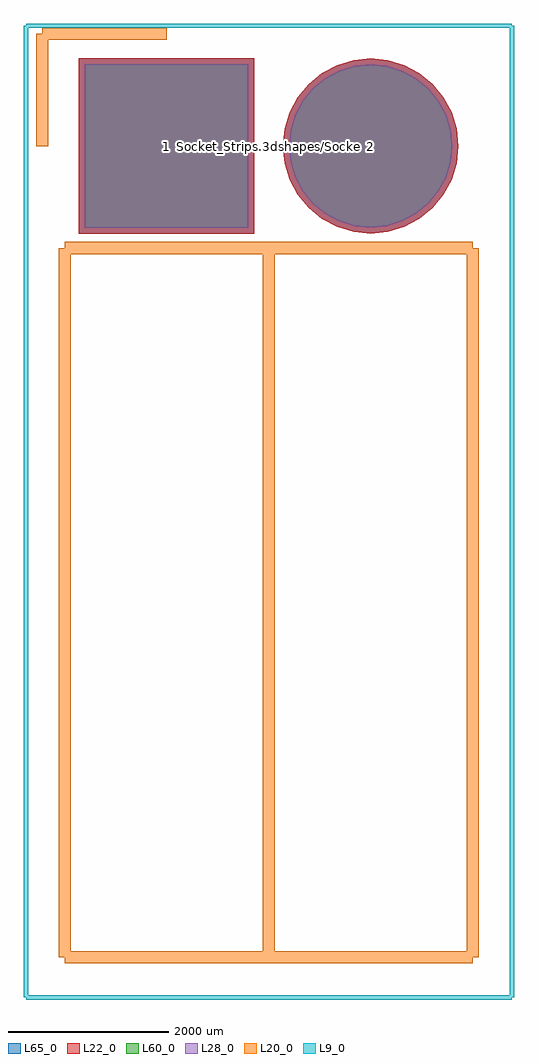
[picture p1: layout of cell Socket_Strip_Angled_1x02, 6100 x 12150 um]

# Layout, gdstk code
import gdstk
lib = gdstk.Library(unit=1e-6, precision=1e-09)
def R(c, l, rs):  # rectangles x0, y0, x1, y1
    for r in rs: c.add(gdstk.rectangle(r[:2], r[2:], *l))
def P(c, l, *ps):  # polygons
    for p in ps: c.add(gdstk.Polygon(p, *l))
L9_0 = (9, 0)
L20_0 = (20, 0)
L22_0 = (22, 0)
L28_0 = (28, 0)
L60_0 = (60, 0)
L65_0 = (65, 0)

socket_strip_angled_1x02 = lib.new_cell('Socket_Strip_Angled_1x02')
R(socket_strip_angled_1x02, L22_0, [(-1091,-1091,1091,1091)])
P(socket_strip_angled_1x02, L22_0, [(3631,0),(3610.037,212.844),(3547.953,417.508),(3447.133,606.127),(3311.453,771.453),(3146.127,907.133),(2957.508,1007.953),(2752.844,1070.037),(2540,1091),(2327.156,1070.037),(2122.492,1007.953),(1933.873,907.133),(1768.547,771.453),(1632.867,606.127),(1532.047,417.508),(1469.963,212.844),(1449,0),(1469.963,-212.844),(1532.047,-417.508),(1632.867,-606.127),(1768.547,-771.453),(1933.873,-907.133),(2122.492,-1007.953),(2327.156,-1070.037),(2540,-1091),(2752.844,-1070.037),(2957.508,-1007.953),(3146.127,-907.133),(3311.453,-771.453),(3447.133,-606.127),(3547.953,-417.508),(3610.037,-212.844)])
R(socket_strip_angled_1x02, L28_0, [(-1016,-1016,1016,1016)])
P(socket_strip_angled_1x02, L28_0, [(3556,0),(3536.478,198.212),(3478.662,388.806),(3384.773,564.459),(3258.42,718.42),(3104.459,844.773),(2928.806,938.662),(2738.212,996.478),(2540,1016),(2341.788,996.478),(2151.194,938.662),(1975.541,844.773),(1821.58,718.42),(1695.227,564.459),(1601.338,388.806),(1543.522,198.212),(1524,0),(1543.522,-198.212),(1601.338,-388.806),(1695.227,-564.459),(1821.58,-718.42),(1975.541,-844.773),(2151.194,-938.662),(2341.788,-996.478),(2540,-1016),(2738.212,-996.478),(2928.806,-938.662),(3104.459,-844.773),(3258.42,-718.42),(3384.773,-564.459),(3478.662,-388.806),(3536.478,-198.212)])
R(socket_strip_angled_1x02, L60_0, [(-1016,-1016,1016,1016)])
P(socket_strip_angled_1x02, L60_0, [(3556,0),(3536.478,198.212),(3478.662,388.806),(3384.773,564.459),(3258.42,718.42),(3104.459,844.773),(2928.806,938.662),(2738.212,996.478),(2540,1016),(2341.788,996.478),(2151.194,938.662),(1975.541,844.773),(1821.58,718.42),(1695.227,564.459),(1601.338,388.806),(1543.522,198.212),(1524,0),(1543.522,-198.212),(1601.338,-388.806),(1695.227,-564.459),(1821.58,-718.42),(1975.541,-844.773),(2151.194,-938.662),(2341.788,-996.478),(2540,-1016),(2738.212,-996.478),(2928.806,-938.662),(3104.459,-844.773),(3258.42,-718.42),(3384.773,-564.459),(3478.662,-388.806),(3536.478,-198.212)])
R(socket_strip_angled_1x02, L65_0, [(-1091,-1091,1091,1091)])
P(socket_strip_angled_1x02, L65_0, [(3631,0),(3610.037,212.844),(3547.953,417.508),(3447.133,606.127),(3311.453,771.453),(3146.127,907.133),(2957.508,1007.953),(2752.844,1070.037),(2540,1091),(2327.156,1070.037),(2122.492,1007.953),(1933.873,907.133),(1768.547,771.453),(1632.867,606.127),(1532.047,417.508),(1469.963,212.844),(1449,0),(1469.963,-212.844),(1532.047,-417.508),(1632.867,-606.127),(1768.547,-771.453),(1933.873,-907.133),(2122.492,-1007.953),(2327.156,-1070.037),(2540,-1091),(2752.844,-1070.037),(2957.508,-1007.953),(3146.127,-907.133),(3311.453,-771.453),(3447.133,-606.127),(3547.953,-417.508),(3610.037,-212.844)])
socket_strip_angled_1x02.add(gdstk.FlexPath([(1270,-10100),(1270,-1270)], 149.998, ends="flush", simple_path=True, layer=20, datatype=0))  # L20_0
socket_strip_angled_1x02.add(gdstk.FlexPath([(-1270,-10100),(1270,-10100)], 149.998, ends="flush", simple_path=True, layer=20, datatype=0))  # L20_0
socket_strip_angled_1x02.add(gdstk.FlexPath([(-1270,-1270),(-1270,-10100)], 149.998, ends="flush", simple_path=True, layer=20, datatype=0))  # L20_0
socket_strip_angled_1x02.add(gdstk.FlexPath([(-1550,1400),(-1550,0)], 149.998, ends="flush", simple_path=True, layer=20, datatype=0))  # L20_0
socket_strip_angled_1x02.add(gdstk.FlexPath([(0,1400),(-1550,1400)], 149.998, ends="flush", simple_path=True, layer=20, datatype=0))  # L20_0
socket_strip_angled_1x02.add(gdstk.FlexPath([(-1270,-1270),(1270,-1270)], 149.998, ends="flush", simple_path=True, layer=20, datatype=0))  # L20_0
socket_strip_angled_1x02.add(gdstk.FlexPath([(1270,-1270),(3810,-1270)], 149.998, ends="flush", simple_path=True, layer=20, datatype=0))  # L20_0
socket_strip_angled_1x02.add(gdstk.FlexPath([(1270,-1270),(1270,-10100)], 149.998, ends="flush", simple_path=True, layer=20, datatype=0))  # L20_0
socket_strip_angled_1x02.add(gdstk.FlexPath([(1270,-10100),(3810,-10100)], 149.998, ends="flush", simple_path=True, layer=20, datatype=0))  # L20_0
socket_strip_angled_1x02.add(gdstk.FlexPath([(3810,-10100),(3810,-1270)], 149.998, ends="flush", simple_path=True, layer=20, datatype=0))  # L20_0
socket_strip_angled_1x02.add(gdstk.FlexPath([(-1750,-10600),(4300,-10600)], 50, ends="flush", simple_path=True, layer=9, datatype=0))  # L9_0
socket_strip_angled_1x02.add(gdstk.FlexPath([(-1750,1500),(4300,1500)], 50, ends="flush", simple_path=True, layer=9, datatype=0))  # L9_0
socket_strip_angled_1x02.add(gdstk.FlexPath([(4300,1500),(4300,-10600)], 50, ends="flush", simple_path=True, layer=9, datatype=0))  # L9_0
socket_strip_angled_1x02.add(gdstk.FlexPath([(-1750,1500),(-1750,-10600)], 50, ends="flush", simple_path=True, layer=9, datatype=0))  # L9_0
socket_strip_angled_1x02.add(gdstk.Label('Socket_Strips.3dshapes/Socket_Strip_Angled_1x02.wrl', (1270,0), layer=12, texttype=0))
socket_strip_angled_1x02.add(gdstk.Label('2', (2540,0), layer=28, texttype=0))
socket_strip_angled_1x02.add(gdstk.Label('1', (0,0), layer=28, texttype=0))
socket_strip_angled_1x02.add(gdstk.Label('type', (0,2750), layer=9, texttype=0))
socket_strip_angled_1x02.add(gdstk.Label('devicename', (0,4750), layer=9, texttype=0))

lib.write_gds('Socket_Strip_Angled_1x02.gds')
